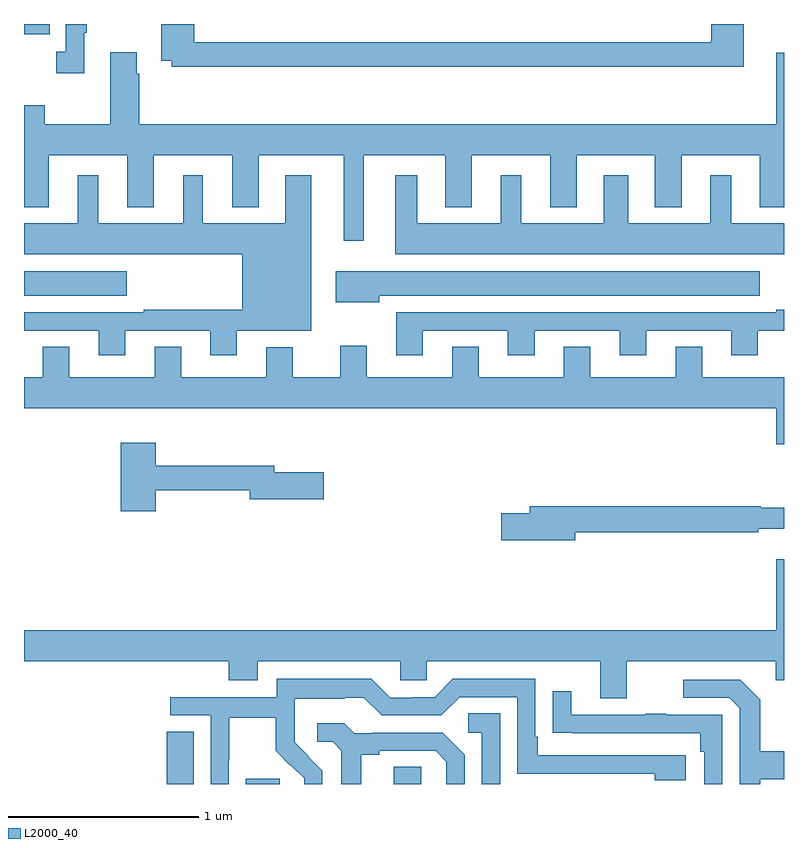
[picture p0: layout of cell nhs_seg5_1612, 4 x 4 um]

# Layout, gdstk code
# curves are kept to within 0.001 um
import gdstk
lib = gdstk.Library(unit=1e-6, precision=1e-09)
def R(c, l, rs):  # rectangles x0, y0, x1, y1
    for r in rs: c.add(gdstk.rectangle(r[:2], r[2:], *l))
def P(c, l, *ps):  # polygons
    for p in ps: c.add(gdstk.Polygon(p, *l))
L2000_40 = (2000, 40)

nhs_seg5_1612 = lib.new_cell('nhs_seg5_1612')
R(nhs_seg5_1612, L2000_40, [(209.75,838.799,209.893,839.075), (210.167,838.799,210.346,838.827), (210.947,838.799,211.092,838.889), (209,841.37,209.542,841.498), (209,842.746,209.135,842.799)])
P(nhs_seg5_1612, L2000_40, [(212.788,842.799),(212.618,842.799),(212.618,842.702),(209.897,842.702),(209.897,842.799),(209.722,842.799),(209.722,842.606),(209.778,842.606),(209.778,842.574),(212.788,842.574)],
  [(209.317,842.753),(209.329,842.753),(209.329,842.799),(209.22,842.799),(209.22,842.654),(209.169,842.654),(209.169,842.541),(209.317,842.541)],
  [(210.787,842.108),(211.217,842.108),(211.217,841.835),(211.357,841.835),(211.357,842.108),(211.769,842.108),(211.769,841.835),(211.909,841.835),(211.909,842.108),(212.321,842.108),(212.321,841.835),(212.461,841.835),(212.461,842.108),(212.873,842.108),(212.873,841.835),(213,841.835),(213,842.647),(212.96,842.647),(212.96,842.272),(209.606,842.272),(209.606,842.537),(209.593,842.537),(209.593,842.65),(209.453,842.65),(209.453,842.272),(209.109,842.272),(209.109,842.371),(209,842.371),(209,841.835),(209.131,841.835),(209.131,842.108),(209.543,842.108),(209.543,841.835),(209.683,841.835),(209.683,842.108),(210.095,842.108),(210.095,841.835),(210.235,841.835),(210.235,842.108),(210.683,842.108),(210.683,841.659),(210.787,841.659)],
  [(213,841.75),(212.722,841.75),(212.722,842.002),(212.612,842.002),(212.612,841.75),(212.179,841.75),(212.179,842.002),(212.051,842.002),(212.051,841.75),(211.618,841.75),(211.618,842.002),(211.508,842.002),(211.508,841.75),(211.069,841.75),(211.069,842.002),(210.953,842.002),(210.953,841.586),(213,841.586)],
  [(209.533,841.185),(209.981,841.185),(209.981,841.056),(210.121,841.056),(210.121,841.184),(210.511,841.184),(210.511,842.002),(210.374,842.002),(210.374,841.75),(209.941,841.75),(209.941,842.002),(209.837,842.002),(209.837,841.75),(209.392,841.75),(209.392,842.002),(209.282,842.002),(209.282,841.75),(209,841.75),(209,841.586),(210.149,841.586),(210.149,841.294),(209.629,841.294),(209.629,841.281),(209,841.281),(209,841.185),(209.393,841.185),(209.393,841.056),(209.533,841.056)],
  [(210.871,841.37),(212.872,841.37),(212.872,841.498),(210.642,841.498),(210.642,841.334),(210.871,841.334)],
  [(211.099,841.185),(211.547,841.185),(211.547,841.056),(211.687,841.056),(211.687,841.185),(212.135,841.185),(212.135,841.056),(212.275,841.056),(212.275,841.185),(212.723,841.185),(212.723,841.056),(212.863,841.056),(212.863,841.185),(213,841.185),(213,841.294),(212.959,841.294),(212.959,841.281),(210.959,841.281),(210.959,841.056),(211.099,841.056)],
  [(213,840.94),(212.569,840.94),(212.569,841.1),(212.429,841.1),(212.429,840.94),(211.981,840.94),(211.981,841.1),(211.841,841.1),(211.841,840.94),(211.393,840.94),(211.393,841.1),(211.253,841.1),(211.253,840.94),(210.805,840.94),(210.805,841.105),(210.665,841.105),(210.665,840.94),(210.415,840.94),(210.415,841.099),(210.275,841.099),(210.275,840.94),(209.827,840.94),(209.827,841.1),(209.687,841.1),(209.687,840.94),(209.239,840.94),(209.239,841.1),(209.099,841.1),(209.099,840.94),(209,840.94),(209,840.776),(212.96,840.776),(212.96,840.588),(213,840.588)],
  [(209.693,840.346),(210.188,840.346),(210.188,840.299),(210.577,840.299),(210.577,840.441),(210.316,840.441),(210.316,840.475),(209.693,840.475),(209.693,840.595),(209.51,840.595),(209.51,840.234),(209.693,840.234)],
  [(211.9,840.124),(212.864,840.124),(212.864,840.143),(213,840.143),(213,840.253),(212.878,840.253),(212.878,840.26),(211.661,840.26),(211.661,840.224),(211.512,840.224),(211.512,840.082),(211.9,840.082)],
  [(212.173,839.444),(212.957,839.444),(212.957,839.345),(213,839.345),(213,839.983),(212.96,839.983),(212.96,839.608),(209,839.608),(209,839.444),(210.077,839.444),(210.077,839.345),(210.229,839.345),(210.229,839.444),(210.981,839.444),(210.981,839.346),(211.119,839.346),(211.119,839.444),(212.033,839.444),(212.033,839.25),(212.173,839.25)],
  [(210.078,838.924),(210.081,838.924),(210.081,839.148),(210.325,839.148),(210.325,838.973),(210.402,838.896),(210.405,838.899),(210.476,838.829),(210.476,838.799),(210.57,838.799),(210.57,838.87),(210.424,839.018),(210.424,839.115),(210.426,839.115),(210.426,839.249),(210.689,839.249),(210.689,839.253),(210.789,839.253),(210.882,839.16),(211.197,839.16),(211.293,839.256),(211.596,839.256),(211.596,838.854),(212.321,838.854),(212.321,838.82),(212.482,838.82),(212.482,838.95),(211.705,838.95),(211.705,839.047),(211.692,839.047),(211.692,839.352),(211.257,839.352),(211.161,839.256),(211.043,839.256),(211.043,839.253),(210.927,839.253),(210.827,839.353),(210.33,839.353),(210.33,839.256),(209.769,839.256),(209.769,839.16),(209.982,839.16),(209.982,838.799),(210.078,838.799)],
  [(212.875,838.823),(213,838.823),(213,838.971),(212.875,838.971),(212.875,839.243),(212.769,839.349),(212.469,839.349),(212.469,839.253),(212.712,839.253),(212.766,839.199),(212.766,838.799),(212.875,838.799)],
  [(212.676,839.163),(212.381,839.163),(212.381,839.168),(212.269,839.168),(212.269,839.163),(211.879,839.163),(211.879,839.287),(211.783,839.287),(211.783,839.068),(211.885,839.068),(211.885,839.067),(212.56,839.067),(212.56,838.97),(212.58,838.97),(212.58,838.799),(212.676,838.799)],
  [(211.506,839.171),(211.338,839.171),(211.338,839.07),(211.41,839.07),(211.41,838.799),(211.506,838.799)],
  [(210.775,838.952),(210.871,838.952),(210.871,838.974),(211.166,838.974),(211.223,838.917),(211.223,838.799),(211.32,838.799),(211.32,838.954),(211.204,839.07),(210.832,839.07),(210.832,839.067),(210.738,839.067),(210.686,839.119),(210.543,839.119),(210.543,839.022),(210.624,839.022),(210.671,838.975),(210.671,838.799),(210.775,838.799)])

lib.write_gds('nhs_seg5_1612.gds')
